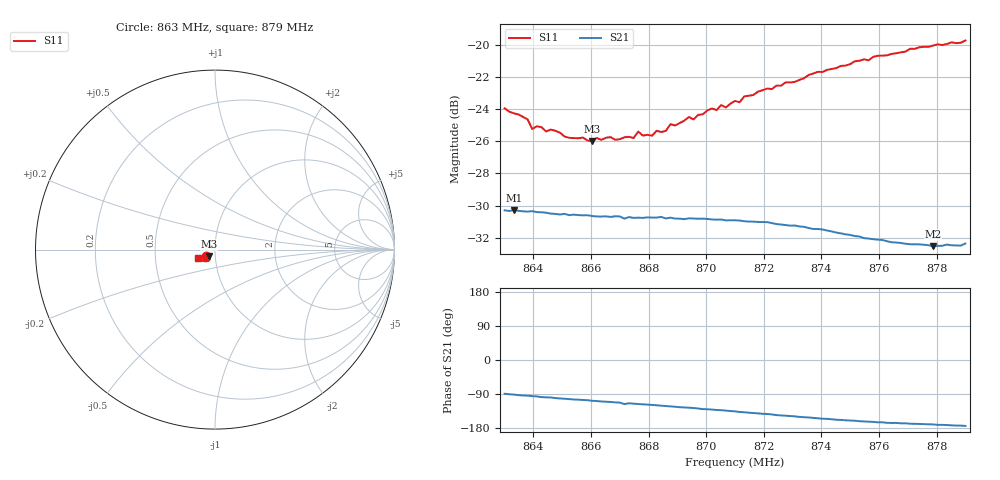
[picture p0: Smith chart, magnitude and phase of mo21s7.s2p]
# HZ S RI R 50
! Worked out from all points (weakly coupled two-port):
!   101 points, 863 MHz to 879 MHz, reference 50 ohm
!   highest |S21| = -30.28 dB at 863.32 MHz (marker M1); lowest = -32.5 dB at 877.88 MHz (marker M2)
!   lowest |S11| = -26.0 dB at 866.04 MHz (marker M3), VSWR 1.11, Z = 46.6 - j3.44 ohm
!   |S11| at or under -10 dB: start of sweep to end of sweep
!   S12 and S22 are empty: the file has one direction only
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8.63e8  -0.0521 -0.0362  0.000474 -0.0306  0 0  0 0
8.6332e8  -0.05 -0.0354  -0.000667 -0.0306  0 0  0 0
8.638e8  -0.047 -0.0349  -0.00222 -0.0302  0 0  0 0
8.6396e8  -0.0431 -0.0336  -0.00276 -0.0303  0 0  0 0
8.6412e8  -0.0436 -0.0348  -0.00322 -0.03  0 0  0 0
8.6524e8  -0.0377 -0.0349  -0.00673 -0.0287  0 0  0 0
8.6572e8  -0.0378 -0.0349  -0.00786 -0.0284  0 0  0 0
8.6604e8  -0.0341 -0.0369  -0.00888 -0.028  0 0  0 0
8.6748e8  -0.0293 -0.0421  -0.0123 -0.0262  0 0  0 0
8.6764e8  -0.0312 -0.0437  -0.0128 -0.026  0 0  0 0
8.678e8  -0.0294 -0.0431  -0.0131 -0.0258  0 0  0 0
8.6844e8  -0.0284 -0.0454  -0.0148 -0.0251  0 0  0 0
8.6876e8  -0.0287 -0.0488  -0.0156 -0.0245  0 0  0 0
8.6892e8  -0.028 -0.0486  -0.0158 -0.0241  0 0  0 0
8.694e8  -0.0292 -0.052  -0.0169 -0.0234  0 0  0 0
8.6956e8  -0.0284 -0.0512  -0.0172 -0.0231  0 0  0 0
8.71e8  -0.0339 -0.0577  -0.0203 -0.0199  0 0  0 0
8.7116e8  -0.0334 -0.0572  -0.0208 -0.0193  0 0  0 0
8.7372e8  -0.0484 -0.0654  -0.0238 -0.0122  0 0  0 0
8.7644e8  -0.0712 -0.0608  -0.0236 -0.00583  0 0  0 0
8.7788e8  -0.0839 -0.0534  -0.0233 -0.00415  0 0  0 0
8.79e8  -0.0922 -0.0463  -0.024 -0.00253  0 0  0 0
